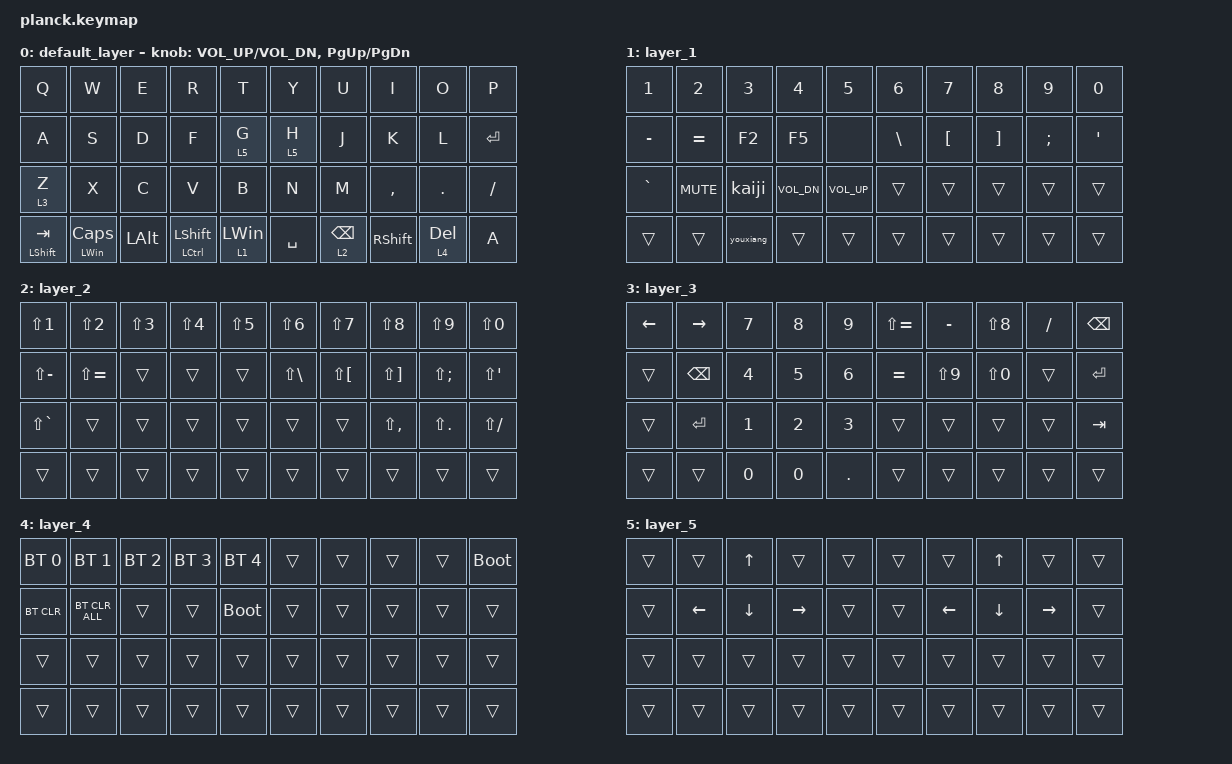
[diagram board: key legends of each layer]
#include <behaviors/toggle_io.dtsi> // for toggle behavior
#include <behaviors/on_io.dtsi> // for on behavior
#include <behaviors/off_io.dtsi> // for off behavior
#include <behaviors.dtsi>
#include <dt-bindings/zmk/bt.h>
#include <dt-bindings/zmk/keys.h>

// / {
//     chosen {
//         zmk,physical-layout = &matrix_physical_layout;
//     };
// };

/ {
    macros {
        kaiji: kaiji {
            compatible = "zmk,behavior-macro";
            #binding-cells = <0>;
            bindings = <&kp LS(C) &kp H &kp L &kp DOT &kp N8 &kp N8 &kp N0 &kp N6 &kp N0 &kp N2 &kp AMPS &kp STAR &kp LPAR &kp RET>;
            label = "KAIJI";
        };

        youxiang: youxiang {
            compatible = "zmk,behavior-macro";
            #binding-cells = <0>;
            bindings = <&kp LS(C) &kp H &kp L &kp DOT &kp N8 &kp N8 &kp N0 &kp N6 &kp N0 &kp N2 &kp PRCNT &kp CARET &kp AMPS &kp STAR &kp LPAR &kp RPAR &kp RET>;
            label = "YOUXIANG";
        };
    };

    combos {
        compatible = "zmk,combos";

        esc {
            bindings = <&kp ESC>;
            key-positions = <0 1>;
        };

        del {
            bindings = <&kp DELETE>;
            key-positions = <10 11>;
        };

        caps {
            bindings = <&kp CAPSLOCK>;
            key-positions = <20 21>;
        };

        bk {
            bindings = <&kp BACKSPACE>;
            key-positions = <9 8>;
        };

        tab {
            bindings = <&kp TAB>;
            key-positions = <28 29>;
        };

        enter {
            bindings = <&kp ENTER>;
            key-positions = <18 19>;
        };

        home {
            bindings = <&kp HOME>;
            key-positions = <2 3>;
        };

        end {
            bindings = <&kp END>;
            key-positions = <12 13>;
        };

        pu {
            bindings = <&kp PAGE_UP>;
            key-positions = <6 7>;
        };

        pd {
            bindings = <&kp PG_DN>;
            key-positions = <16 17>;
        };
    };

    behaviors {
        homerow_mods: homerow_mods {
            compatible = "zmk,behavior-hold-tap";
            label = "homerow_mods";
            bindings = <&kp>, <&kp>;

            #binding-cells = <2>;
            tapping-term-ms = <200>;
            quick-tap-ms = <180>;
            flavor = "tap-preferred";
        };

        ltq: ltq {
            compatible = "zmk,behavior-hold-tap";
            label = "LTQ";
            bindings = <&mo>, <&kp>;

            #binding-cells = <2>;
            tapping-term-ms = <200>;
            quick-tap-ms = <180>;
        };
    };

    keymap {
        compatible = "zmk,keymap";

        default_layer {
            // --------------------------------------------------------------------------------------------------------------------------------------------------------------------
            // |   ESC   |    Q    |    W    |    E    |    R    |    T    |                                          |    Y    |    U    |    I    |    O    |    P    |    \    |
            // |   TAB   |    A    |    S    |    D    |    F    |    G    |                                          |    H    |    J    |    K    |    L    |    ;    |    '    |
            // |  SHIFT  |    Z    |    X    |    C    |    V    |    B    | CTRL+A  | CTRL+C  |  |  CTRL+V |  CTRL+X |    N    |    M    |    ,    |    .    |    /    |  R CTRL |
            //                               |   GUI   |   DEL   | RETURN  |  SPACE  | ESCAPE  |  |  RETURN |  SPACE  |   TAB   |   BSPC  |  R ALT  |

            bindings = <
&kp Q               &kp W              &kp E         &kp R                 &kp T               &kp Y      &kp U             &kp I            &kp O      &kp P
&kp A               &kp S              &kp D         &kp F                 &lt 5 G             &lt 5 H    &kp J             &kp K            &kp L      &kp ENTER
&lt 3 Z             &kp X              &kp C         &kp V                 &kp B               &kp N      &kp M             &kp COMMA        &kp DOT    &kp FSLH
&mt LEFT_SHIFT TAB  &mt LEFT_WIN CAPS  &kp LEFT_ALT  &mt LCTRL LEFT_SHIFT  &lt 1 LEFT_WIN      &kp SPACE  &ltq 2 BACKSPACE  &kp RIGHT_SHIFT  &lt 4 DEL  &kp A
            >;

            sensor-bindings = <&inc_dec_kp C_VOL_UP C_VOL_DN &inc_dec_kp PG_UP PG_DN>;
        };

        layer_1 {
            bindings = <
&kp N1     &kp N2      &kp N3     &kp N4        &kp N5               &kp N6    &kp N7    &kp N8    &kp N9    &kp N0
&kp MINUS  &kp EQUAL   &kp F2     &kp F5        &none                &kp BSLH  &kp LBKT  &kp RBKT  &kp SEMI  &kp APOS
&kp GRAVE  &kp C_MUTE  &kaiji     &kp C_VOL_DN  &kp C_VOLUME_UP      &trans    &trans    &trans    &trans    &trans
&trans     &trans      &youxiang  &trans        &trans               &trans    &trans    &trans    &trans    &trans
            >;
        };

        layer_2 {
            bindings = <
&kp LS(N1)     &kp LS(N2)     &kp LS(N3)  &kp LS(N4)  &kp LS(N5)      &kp LS(N6)    &kp LS(N7)    &kp LS(N8)     &kp LS(N9)    &kp LS(N0)
&kp LS(MINUS)  &kp LS(EQUAL)  &trans      &trans      &trans          &kp LS(BSLH)  &kp LS(LBKT)  &kp LS(RBKT)   &kp LS(SEMI)  &kp LS(APOS)
&kp LS(GRAVE)  &trans         &trans      &trans      &trans          &trans        &trans        &kp LS(COMMA)  &kp LS(DOT)   &kp LS(FSLH)
&trans         &trans         &trans      &trans      &trans          &trans        &trans        &trans         &trans        &trans
            >;
        };

        layer_3 {
            bindings = <
&kp LEFT  &kp RIGHT  &kp N7  &kp N8  &kp N9       &kp LS(EQUAL)  &kp MINUS   &kp LS(N8)  &kp FSLH  &kp BSPC
&trans    &kp BSPC   &kp N4  &kp N5  &kp N6       &kp EQUAL      &kp LS(N9)  &kp LS(N0)  &trans    &kp ENTER
&trans    &kp ENTER  &kp N1  &kp N2  &kp N3       &trans         &trans      &trans      &trans    &kp TAB
&trans    &trans     &kp N0  &kp N0  &kp DOT      &trans         &trans      &trans      &trans    &trans
            >;
        };

        layer_4 {
            bindings = <
&bt BT_SEL 0  &bt BT_SEL 1    &bt BT_SEL 2  &bt BT_SEL 3  &bt BT_SEL 4      &trans  &trans  &trans  &trans  &bootloader
&bt BT_CLR    &bt BT_CLR_ALL  &trans        &trans        &bootloader       &trans  &trans  &trans  &trans  &trans
&trans        &trans          &trans        &trans        &trans            &trans  &trans  &trans  &trans  &trans
&trans        &trans          &trans        &trans        &trans            &trans  &trans  &trans  &trans  &trans
            >;
        };

        layer_5 {
            bindings = <
&trans  &trans          &kp UP_ARROW  &trans           &trans      &trans  &trans    &kp UP_ARROW    &trans     &trans
&trans  &kp LEFT_ARROW  &kp DOWN      &kp RIGHT_ARROW  &trans      &trans  &kp LEFT  &kp DOWN_ARROW  &kp RIGHT  &trans
&trans  &trans          &trans        &trans           &trans      &trans  &trans    &trans          &trans     &trans
&trans  &trans          &trans        &trans           &trans      &trans  &trans    &trans          &trans     &trans
            >;
        };
    };
};
